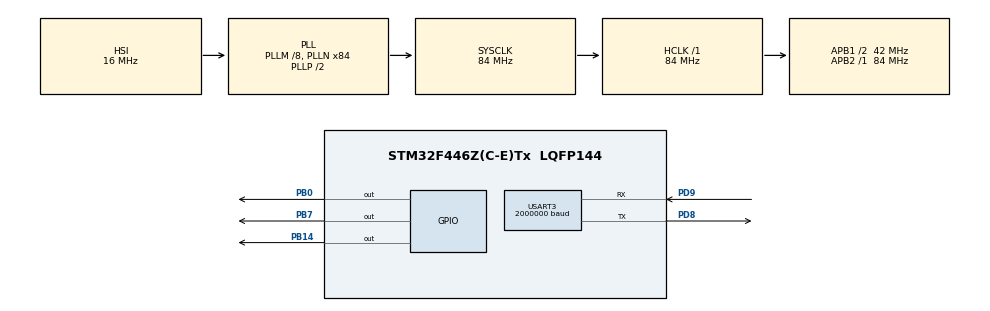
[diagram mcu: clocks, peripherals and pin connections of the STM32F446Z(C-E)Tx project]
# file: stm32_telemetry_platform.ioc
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Mcu.Family=STM32F4
Mcu.Name=STM32F446Z(C-E)Tx
Mcu.Package=LQFP144
NVIC.PriorityGroup=NVIC_PRIORITYGROUP_4
PB0.Signal=GPIO_Output
PB14.Signal=GPIO_Output
PB7.Signal=GPIO_Output
PD8.Mode=Asynchronous
PD8.Signal=USART3_TX
PD9.Mode=Asynchronous
PD9.Signal=USART3_RX
ProjectManager.HeapSize=0x200
ProjectManager.StackSize=0x400
ProjectManager.TargetToolchain=STM32CubeIDE
RCC.AHBFreq_Value=84000000
RCC.APB1CLKDivider=RCC_HCLK_DIV2
RCC.APB1Freq_Value=42000000
RCC.APB1TimFreq_Value=84000000
RCC.APB2Freq_Value=84000000
RCC.APB2TimFreq_Value=84000000
RCC.CortexFreq_Value=84000000
RCC.HCLKFreq_Value=84000000
RCC.PLLI2SM=8
RCC.PLLI2SN=84
RCC.PLLM=8
RCC.PLLN=84
RCC.PLLSAIM=8
RCC.PLLSAIN=84
RCC.SYSCLKFreq_VALUE=84000000
RCC.SYSCLKSource=RCC_SYSCLKSOURCE_PLLCLK
RCC.USBFreq_Value=84000000
RCC.VCOOutputFreq_Value=168000000
USART3.BaudRate=2000000
USART3.OverSampling=UART_OVERSAMPLING_16
USART3.VirtualMode=VM_ASYNC
board=custom

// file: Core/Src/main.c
/* USER CODE BEGIN Header */
/**
 ******************************************************************************
 * @file           : main.c
 * @brief          : Main program body
 ******************************************************************************
 * @attention
 *
 * Copyright (c) 2026 STMicroelectronics.
 * All rights reserved.
 *
 * This software is licensed under terms that can be found in the LICENSE file
 * in the root directory of this software component.
 * If no LICENSE file comes with this software, it is provided AS-IS.
 *
 ******************************************************************************
 */
/* USER CODE END Header */
#include "main.h"

/* USER CODE BEGIN Includes */
#include <stdio.h>
#include <string.h>
#include <stdlib.h>
#include <math.h>
/* USER CODE END Includes */

/* USER CODE BEGIN PD */

#define EVENT_SAMPLE_COUNT 32
#define EVENT_CHANNEL_COUNT 60
#define LUT_FRAME_COUNT 1
#define ADC_MIN 0
#define ADC_MAX 4095

#define FRAME_HEADER_BYTES (2 + 4 + 4 + 2 + 2)
#define FRAME_SAMPLE_BYTES (EVENT_CHANNEL_COUNT * EVENT_SAMPLE_COUNT * 2)
#define FRAME_PARAM_BYTES  (EVENT_CHANNEL_COUNT * 12)
#define FRAME_BYTES        (FRAME_HEADER_BYTES + FRAME_SAMPLE_BYTES + FRAME_PARAM_BYTES)

/* USER CODE END PD */

UART_HandleTypeDef huart3;

void SystemClock_Config(void);
static void MX_GPIO_Init(void);
static void MX_USART3_UART_Init(void);

/* USER CODE BEGIN 0 */

static uint16_t clamp_adc(int value)
{
  if (value < ADC_MIN)
    return ADC_MIN;
  if (value > ADC_MAX)
    return ADC_MAX;
  return (uint16_t)value;
}

// Pre-computed LUT: K reference frames, each with samples + params blocks
// matching the wire format layout exactly so we can memcpy them in one shot.
static uint8_t lut_samples[LUT_FRAME_COUNT][FRAME_SAMPLE_BYTES];
static uint8_t lut_params[LUT_FRAME_COUNT][FRAME_PARAM_BYTES];

// Per-channel waveform shape types
#define SHAPE_NOISE_ONLY   0
#define SHAPE_FAST_PULSE   1   // PMT/SiPM-like: sharp rise + exp decay
#define SHAPE_GAUSSIAN     2   // CR-RC^n shaper output
#define SHAPE_PREAMP       3   // Charge-sensitive preamp: step + slow RC tail
#define SHAPE_BIPOLAR      4   // Derivative-of-Gaussian: positive then negative lobe
#define SHAPE_PILEUP       5   // Two pulses close in time
#define SHAPE_SATURATED    6   // Above ADC range — clipped flat-top
#define SHAPE_DAMPED_OSC   7   // Detector ringing
#define SHAPE_SINUSOIDAL   8   // Multi-period sine (pickup)
#define SHAPE_PULSE_TRAIN  9   // Bunch-structure: periodic pulses
#define SHAPE_PICKUP_60HZ  10  // Low-amp sinusoidal background

// Returns signed signal value to add to baseline (samples_idx in [0, 32)).
static int synth_signal(int sample_idx, int shape, int amp, int center)
{
  switch (shape)
  {
    case SHAPE_FAST_PULSE: {
      if (sample_idx < center) return 0;
      float dx = (float)(sample_idx - center);
      return (int)(amp * expf(-dx / 4.0f));
    }
    case SHAPE_GAUSSIAN: {
      float dx = (float)(sample_idx - center);
      float sigma = 3.0f;
      return (int)(amp * expf(-(dx * dx) / (2.0f * sigma * sigma)));
    }
    case SHAPE_PREAMP: {
      if (sample_idx < center - 1) return 0;
      if (sample_idx <= center + 1) return amp;
      float dx = (float)(sample_idx - center - 1);
      return (int)(amp * expf(-dx / 14.0f));
    }
    case SHAPE_BIPOLAR: {
      float dx = (float)(sample_idx - center);
      float sigma = 2.5f;
      // First derivative of Gaussian: -dx/sigma * exp(-dx^2 / 2 sigma^2)
      return (int)(-amp * (dx / sigma) * expf(-(dx * dx) / (2.0f * sigma * sigma)));
    }
    case SHAPE_PILEUP: {
      int c2 = center + 8;
      float sigma = 2.0f;
      float d1 = (float)(sample_idx - center);
      float d2 = (float)(sample_idx - c2);
      int s1 = (int)(amp * expf(-(d1 * d1) / (2.0f * sigma * sigma)));
      int s2 = (int)((amp * 2 / 3) * expf(-(d2 * d2) / (2.0f * sigma * sigma)));
      return s1 + s2;
    }
    case SHAPE_SATURATED: {
      // Wide pulse intentionally above ADC range — clamp_adc trims
      int width = 8;
      int dist = sample_idx - center;
      if (dist < 0) dist = -dist;
      if (dist < width) return amp * 2;
      return 0;
    }
    case SHAPE_DAMPED_OSC: {
      if (sample_idx < center) return 0;
      float dx = (float)(sample_idx - center);
      return (int)(amp * expf(-dx / 8.0f) * cosf(dx * 0.7f));
    }
    case SHAPE_SINUSOIDAL: {
      // Two periods across the 32-sample window
      float dx = (float)sample_idx;
      return (int)(amp * sinf(dx * 6.2832f / 16.0f));
    }
    case SHAPE_PULSE_TRAIN: {
      // Sharp pulses every 8 samples (bunch-structure-like)
      int phase = sample_idx % 8;
      if (phase == 0) return amp;
      if (phase == 1) return amp / 2;
      return 0;
    }
    case SHAPE_PICKUP_60HZ: {
      // ~3 periods of low-amp sine across window
      float dx = (float)sample_idx;
      return (int)(amp * sinf(dx * 6.2832f / 10.0f));
    }
    case SHAPE_NOISE_ONLY:
    default:
      return 0;
  }
}

// Each channel has ONE characteristic physics-pulse shape (fixed for the channel's
// lifetime). Channels rotate through the 7 shapes so adjacent channels look distinct,
// but the channel→shape mapping never changes. Per-event variation comes purely
// from amp/baseline/timing jitter applied in the hot path.
static int channel_shape(int channel_id)
{
  static const int physics_shapes[] = {
    SHAPE_GAUSSIAN,    // CR-RC shaper output
    SHAPE_FAST_PULSE,  // PMT/SiPM-like
    SHAPE_PREAMP,      // Charge-sensitive preamp
    SHAPE_BIPOLAR,     // CR-RC^2 shaper
    SHAPE_PILEUP,      // Two close pulses
    SHAPE_DAMPED_OSC,  // Detector ringing
    SHAPE_SATURATED,   // Above ADC range
  };
  return physics_shapes[channel_id % (sizeof(physics_shapes) / sizeof(physics_shapes[0]))];
}

// Fast PRNG for hot-path noise. xorshift32 is ~10 cycles vs ~100 for libc rand().
static uint32_t prng_state = 0x1234567Au;
static inline uint32_t prng_next(void)
{
  uint32_t x = prng_state;
  x ^= x << 13;
  x ^= x >> 17;
  x ^= x << 5;
  prng_state = x;
  return x;
}

// Per-channel reference values, set once at boot. Each channel keeps its own
// baseline, amplitude, and pulse-center for its lifetime. Per-event jitter
// is applied on top of these so the channel's identity stays consistent
// while parameters vary continuously across events.
static uint16_t channel_baseline[EVENT_CHANNEL_COUNT];

// LUT holds the CLEAN signal for each channel — that channel's chosen physics
// shape rendered with its fixed baseline/amp/center. One frame total: each
// channel's identity is permanent; per-event variation comes from jitter, not
// from cycling through different LUT frames.
static void generate_lut(void)
{
  uint16_t *samples = (uint16_t *)lut_samples[0];
  uint8_t  *params  = lut_params[0];

  for (int c = 0; c < EVENT_CHANNEL_COUNT; c++)
  {
    int shape = channel_shape(c);
    uint16_t baseline = clamp_adc(1400 + (rand() % 201));      // 1400..1600 per channel
    int amp = 1600 + (rand() % 1400);                           // 1600..3000 per channel
    int center = 10 + (rand() % 10);                            // 10..19 per channel

    channel_baseline[c] = baseline;

    uint16_t *ch_samples = samples + c * EVENT_SAMPLE_COUNT;
    for (int i = 0; i < EVENT_SAMPLE_COUNT; i++)
    {
      int signal = synth_signal(i, shape, amp, center);
      ch_samples[i] = clamp_adc((int)baseline + signal);
    }

    // Only baseline matters in the LUT params block — other params are recomputed
    // per event from jittered samples.
    uint8_t *p = params + c * 12;
    memcpy(p + 0, &baseline, 2);
    memset(p + 2, 0, 10);
  }
}

// Per-event hot path: copy clean samples from LUT, apply jitter (per-event amp scale,
// baseline shift, per-sample noise), recompute all four params from the jittered samples.
// Channel identity (shape, baseline, amp scale center) stays fixed; only the *values*
// vary event to event, so histograms become smooth distributions.
static inline void apply_jitter_and_compute_params(uint8_t *frame_buf)
{
  const uint16_t *lut = (const uint16_t *)lut_samples[0];
  uint16_t *frame_samples = (uint16_t *)(frame_buf + FRAME_HEADER_BYTES);
  uint8_t *frame_p = frame_buf + FRAME_HEADER_BYTES + FRAME_SAMPLE_BYTES;

  for (int c = 0; c < EVENT_CHANNEL_COUNT; c++)
  {
    const uint16_t *src = lut + c * EVENT_SAMPLE_COUNT;
    uint16_t *dst = frame_samples + c * EVENT_SAMPLE_COUNT;
    uint16_t base = channel_baseline[c];

    // Per-event amplitude scale: 0.25..2.0 (Q8 fixed point: 64..512).
    // Wide enough that Area / PeakHeight span ~a decade on a log axis,
    // so histograms read as proper bell curves instead of single-bin spikes.
    uint32_t amp_q8 = 64 + (prng_next() % 449);

    // Per-event baseline scale: multiplicative 0.25..2.0 (Q8: 64..512).
    // Multiplicative jitter → values span ~a decade on a log axis instead
    // of clustering in one bin around the channel's nominal baseline.
    uint32_t base_q8 = 64 + (prng_next() % 449);
    uint16_t event_baseline = clamp_adc(((int)base * (int)base_q8) >> 8);

    uint16_t peak_height = 0;
    uint32_t area = 0;

    // Pass 1: jitter + accumulate peak_height & area
    for (int i = 0; i < EVENT_SAMPLE_COUNT; i++)
    {
      int signal_clean = (int)src[i] - (int)base;        // signal above original baseline
      int signal_scaled = (signal_clean * (int)amp_q8) >> 8;  // amp jitter
      int s = (int)event_baseline + signal_scaled;

      // Per-sample noise: ~±64 ADC counts
      int noise = ((int)(prng_next() & 0xFF)) - 128;
      s += noise / 2;

      if (s < ADC_MIN) s = ADC_MIN;
      if (s > ADC_MAX) s = ADC_MAX;
      dst[i] = (uint16_t)s;
      if (s > peak_height) peak_height = (uint16_t)s;
      if (s > event_baseline) area += (uint32_t)(s - event_baseline);
    }

    // Pass 2: peak_width = "area above half-height" = sum of (sample - threshold)
    // for samples above the half-max threshold. Real instruments report this
    // as FWHM × amplitude; mathematically it scales with both pulse width
    // (in samples) AND pulse height, so values span 0..~30k and read as a
    // proper distribution across multiple decades on a log axis.
    uint16_t threshold = event_baseline + (peak_height - event_baseline) / 2;
    uint32_t peak_width = 0;
    for (int i = 0; i < EVENT_SAMPLE_COUNT; i++)
    {
      if (dst[i] >= threshold)
        peak_width += (uint32_t)(dst[i] - threshold);
    }

    // Report peak HEIGHT ABOVE BASELINE (standard PHA convention) rather than
    // the raw max sample. Raw samples are clamped to ADC_MAX (4095) which
    // squashes the upper tail of the distribution; subtracting baseline lets
    // the multiplicative amp jitter spread peak_height across decades.
    peak_height = (peak_height > event_baseline)
        ? (uint16_t)(peak_height - event_baseline)
        : 0;

    // Write fresh params with the event's actual baseline + recomputed values
    uint8_t *p = frame_p + c * 12;
    memcpy(p + 0,  &event_baseline, 2);
    memcpy(p + 2,  &area,           4);
    memcpy(p + 6,  &peak_width,     4);
    memcpy(p + 10, &peak_height,    2);
  }
}

/* USER CODE END 0 */

int main(void)
{

  /* MCU Configuration--------------------------------------------------------*/

  /* Reset of all peripherals, Initializes the Flash interface and the Systick. */
  HAL_Init();

  /* Configure the system clock */
  SystemClock_Config();

  /* Initialize all configured peripherals */
  MX_GPIO_Init();
  MX_USART3_UART_Init();
  /* USER CODE BEGIN 2 */
  // Wire frame:
  //   [0xA5][0x5A][event_id u32][timestamp u32][channel_count u16][sample_count u16]
  //   [samples u16[C*N] LE]
  //   [params per channel: baseline u16, area u32, peakWidth u32, peakHeight u16]
  static uint8_t frame[FRAME_BYTES];

  // Static header fields
  frame[0] = 0xA5;
  frame[1] = 0x5A;
  uint16_t channel_count = EVENT_CHANNEL_COUNT;
  uint16_t sample_count = EVENT_SAMPLE_COUNT;
  memcpy(frame + 10, &channel_count, sizeof(channel_count));
  memcpy(frame + 12, &sample_count, sizeof(sample_count));

  // Pre-compute K LUTs once (~18 KB total)
  generate_lut();

  uint32_t event_id = 0;

  /* USER CODE END 2 */

  /* Infinite loop */
  while (1)
  {

    /* USER CODE BEGIN 3 */
    uint32_t timestamp = HAL_GetTick();

    // Apply per-event jitter (amp scale + baseline shift + per-sample noise) on top
    // of each channel's clean LUT samples, then recompute all four params from the
    // jittered samples. Channel identity (shape) is permanent; the *values* vary
    // event to event, giving smooth histogram distributions.
    apply_jitter_and_compute_params(frame);

    // Per-event header updates
    memcpy(frame + 2, &event_id, sizeof(event_id));
    memcpy(frame + 6, &timestamp, sizeof(timestamp));

    HAL_UART_Transmit(&huart3, frame, sizeof(frame), HAL_MAX_DELAY);

    event_id++;
  }
  /* USER CODE END 3 */
}

void SystemClock_Config(void)
{
  RCC_OscInitTypeDef RCC_OscInitStruct = {0};
  RCC_ClkInitTypeDef RCC_ClkInitStruct = {0};

  /** Configure the main internal regulator output voltage
  */
  __HAL_RCC_PWR_CLK_ENABLE();
  __HAL_PWR_VOLTAGESCALING_CONFIG(PWR_REGULATOR_VOLTAGE_SCALE3);

  /** Initializes the RCC Oscillators according to the specified parameters
  * in the RCC_OscInitTypeDef structure.
  */
  RCC_OscInitStruct.OscillatorType = RCC_OSCILLATORTYPE_HSI;
  RCC_OscInitStruct.HSIState = RCC_HSI_ON;
  RCC_OscInitStruct.HSICalibrationValue = RCC_HSICALIBRATION_DEFAULT;
  RCC_OscInitStruct.PLL.PLLState = RCC_PLL_ON;
  RCC_OscInitStruct.PLL.PLLSource = RCC_PLLSOURCE_HSI;
  RCC_OscInitStruct.PLL.PLLM = 8;
  RCC_OscInitStruct.PLL.PLLN = 84;
  RCC_OscInitStruct.PLL.PLLP = RCC_PLLP_DIV2;
  RCC_OscInitStruct.PLL.PLLQ = 2;
  RCC_OscInitStruct.PLL.PLLR = 2;
  if (HAL_RCC_OscConfig(&RCC_OscInitStruct) != HAL_OK)
  {
    Error_Handler();
  }

  /** Initializes the CPU, AHB and APB buses clocks
  */
  RCC_ClkInitStruct.ClockType = RCC_CLOCKTYPE_HCLK|RCC_CLOCKTYPE_SYSCLK
                              |RCC_CLOCKTYPE_PCLK1|RCC_CLOCKTYPE_PCLK2;
  RCC_ClkInitStruct.SYSCLKSource = RCC_SYSCLKSOURCE_PLLCLK;
  RCC_ClkInitStruct.AHBCLKDivider = RCC_SYSCLK_DIV1;
  RCC_ClkInitStruct.APB1CLKDivider = RCC_HCLK_DIV2;
  RCC_ClkInitStruct.APB2CLKDivider = RCC_HCLK_DIV1;

  if (HAL_RCC_ClockConfig(&RCC_ClkInitStruct, FLASH_LATENCY_2) != HAL_OK)
  {
    Error_Handler();
  }
}

static void MX_USART3_UART_Init(void)
{

  huart3.Instance = USART3;
  huart3.Init.BaudRate = 2000000;
  huart3.Init.WordLength = UART_WORDLENGTH_8B;
  huart3.Init.StopBits = UART_STOPBITS_1;
  huart3.Init.Parity = UART_PARITY_NONE;
  huart3.Init.Mode = UART_MODE_TX_RX;
  huart3.Init.HwFlowCtl = UART_HWCONTROL_NONE;
  huart3.Init.OverSampling = UART_OVERSAMPLING_16;
  if (HAL_UART_Init(&huart3) != HAL_OK)
  {
    Error_Handler();
  }

}

static void MX_GPIO_Init(void)
{
  GPIO_InitTypeDef GPIO_InitStruct = {0};

  /* GPIO Ports Clock Enable */
  __HAL_RCC_GPIOB_CLK_ENABLE();
  __HAL_RCC_GPIOD_CLK_ENABLE();

  /*Configure GPIO pin Output Level */
  HAL_GPIO_WritePin(GPIOB, GPIO_PIN_0|GPIO_PIN_14|GPIO_PIN_7, GPIO_PIN_RESET);

  /*Configure GPIO pins : PB0 PB14 PB7 */
  GPIO_InitStruct.Pin = GPIO_PIN_0|GPIO_PIN_14|GPIO_PIN_7;
  GPIO_InitStruct.Mode = GPIO_MODE_OUTPUT_PP;
  GPIO_InitStruct.Pull = GPIO_NOPULL;
  GPIO_InitStruct.Speed = GPIO_SPEED_FREQ_LOW;
  HAL_GPIO_Init(GPIOB, &GPIO_InitStruct);

}

void Error_Handler(void)
{
  __disable_irq();
  while (1)
  {
  }
}
